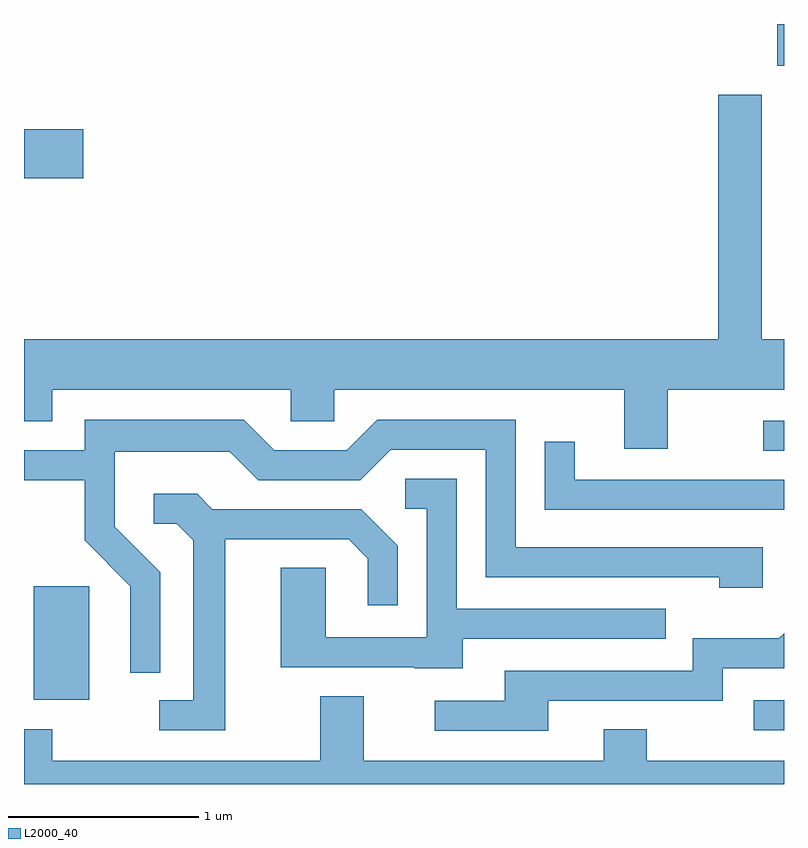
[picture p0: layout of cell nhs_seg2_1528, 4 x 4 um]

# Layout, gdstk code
import gdstk
lib = gdstk.Library(unit=1e-6, precision=1e-09)
def R(c, l, rs):  # rectangles x0, y0, x1, y1
    for r in rs: c.add(gdstk.rectangle(r[:2], r[2:], *l))
def P(c, l, *ps):  # polygons
    for p in ps: c.add(gdstk.Polygon(p, *l))
L2000_40 = (2000, 40)

nhs_seg2_1528 = lib.new_cell('nhs_seg2_1528')
R(nhs_seg2_1528, L2000_40, [(233.453,1042.086,233.611,1042.244), (229.661,1042.246,229.954,1042.844), (233.503,1043.556,233.611,1043.714), (229.611,1044.991,229.924,1045.249), (233.576,1045.581,233.611,1045.802)])
P(nhs_seg2_1528, L2000_40, [(232.999,1043.876),(233.611,1043.876),(233.611,1044.144),(233.494,1044.144),(233.494,1045.429),(233.266,1045.429),(233.266,1044.144),(229.611,1044.144),(229.611,1043.711),(229.759,1043.711),(229.759,1043.876),(231.016,1043.876),(231.016,1043.711),(231.244,1043.711),(231.244,1043.876),(232.771,1043.876),(232.771,1043.566),(232.999,1043.566)],
  [(230.329,1042.917),(230.089,1043.157),(230.089,1043.551),(230.694,1043.551),(230.844,1043.401),(231.382,1043.401),(231.542,1043.561),(232.041,1043.561),(232.041,1042.891),(233.271,1042.891),(233.271,1042.836),(233.499,1042.836),(233.499,1043.049),(232.199,1043.049),(232.199,1043.719),(231.469,1043.719),(231.309,1043.559),(230.927,1043.559),(230.767,1043.719),(229.931,1043.719),(229.931,1043.559),(229.611,1043.559),(229.611,1043.401),(229.931,1043.401),(229.931,1043.084),(230.171,1042.844),(230.171,1042.388),(230.329,1042.388)],
  [(233.611,1043.404),(232.509,1043.404),(232.509,1043.603),(232.351,1043.603),(232.351,1043.246),(233.611,1043.246)],
  [(231.919,1042.566),(232.988,1042.566),(232.988,1042.724),(231.889,1042.724),(231.889,1043.409),(231.618,1043.409),(231.618,1043.251),(231.731,1043.251),(231.731,1042.574),(231.199,1042.574),(231.199,1042.939),(230.961,1042.939),(230.961,1042.416),(231.665,1042.416),(231.665,1042.411),(231.919,1042.411)],
  [(230.669,1043.091),(231.319,1043.091),(231.421,1042.988),(231.421,1042.743),(231.579,1042.743),(231.579,1043.056),(231.387,1043.249),(230.602,1043.249),(230.522,1043.329),(230.293,1043.329),(230.293,1043.171),(230.414,1043.171),(230.501,1043.084),(230.501,1042.244),(230.323,1042.244),(230.323,1042.086),(230.669,1042.086)],
  [(232.369,1042.241),(233.289,1042.241),(233.289,1042.411),(233.611,1042.411),(233.611,1042.596),(233.584,1042.569),(233.131,1042.569),(233.131,1042.399),(232.141,1042.399),(232.141,1042.239),(231.773,1042.239),(231.773,1042.081),(232.369,1042.081)],
  [(233.611,1041.924),(232.889,1041.924),(232.889,1042.089),(232.661,1042.089),(232.661,1041.924),(231.399,1041.924),(231.399,1042.264),(231.171,1042.264),(231.171,1041.924),(229.759,1041.924),(229.759,1042.089),(229.611,1042.089),(229.611,1041.802),(233.611,1041.802)])

lib.write_gds('nhs_seg2_1528.gds')
